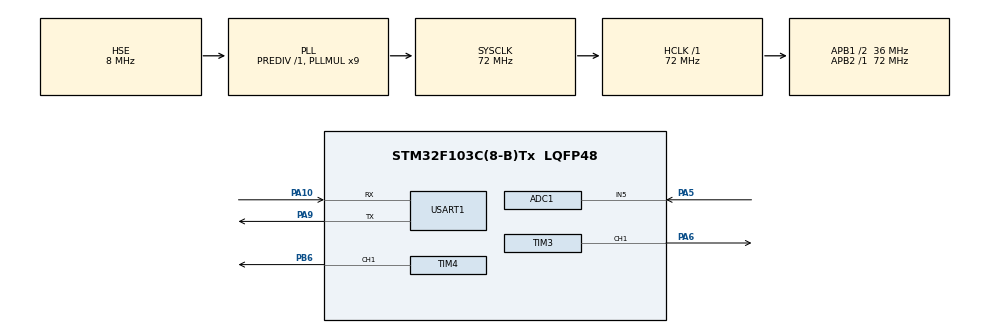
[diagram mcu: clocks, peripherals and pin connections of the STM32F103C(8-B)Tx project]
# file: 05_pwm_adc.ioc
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ADC1.Channel-1\#ChannelRegularConversion=ADC_CHANNEL_5
ADC1.ContinuousConvMode=ENABLE
ADC1.NbrOfConversionFlag=1
ADC1.Rank-1\#ChannelRegularConversion=1
ADC1.SamplingTime-1\#ChannelRegularConversion=ADC_SAMPLETIME_1CYCLE_5
ADC1.master=1
Dma.Request0=USART1_RX
Dma.Request1=USART1_TX
Dma.USART1_RX.0.Direction=DMA_PERIPH_TO_MEMORY
Dma.USART1_RX.0.Instance=DMA1_Channel5
Dma.USART1_RX.0.MemDataAlignment=DMA_MDATAALIGN_BYTE
Dma.USART1_RX.0.MemInc=DMA_MINC_ENABLE
Dma.USART1_RX.0.Mode=DMA_NORMAL
Dma.USART1_RX.0.PeriphDataAlignment=DMA_PDATAALIGN_BYTE
Dma.USART1_RX.0.PeriphInc=DMA_PINC_DISABLE
Dma.USART1_RX.0.Priority=DMA_PRIORITY_LOW
Dma.USART1_TX.1.Direction=DMA_MEMORY_TO_PERIPH
Dma.USART1_TX.1.Instance=DMA1_Channel4
Dma.USART1_TX.1.MemDataAlignment=DMA_MDATAALIGN_BYTE
Dma.USART1_TX.1.MemInc=DMA_MINC_ENABLE
Dma.USART1_TX.1.Mode=DMA_NORMAL
Dma.USART1_TX.1.PeriphDataAlignment=DMA_PDATAALIGN_BYTE
Dma.USART1_TX.1.PeriphInc=DMA_PINC_DISABLE
Dma.USART1_TX.1.Priority=DMA_PRIORITY_LOW
Mcu.Family=STM32F1
Mcu.Name=STM32F103C(8-B)Tx
Mcu.Package=LQFP48
NVIC.DMA1_Channel4_IRQn=true\:0\:0\:false\:false\:true\:false\:true\:true
NVIC.DMA1_Channel5_IRQn=true\:0\:0\:false\:false\:true\:false\:true\:true
NVIC.PriorityGroup=NVIC_PRIORITYGROUP_4
PA10.Mode=Asynchronous
PA10.Signal=USART1_RX
PA13.Mode=Serial_Wire
PA13.Signal=SYS_JTMS-SWDIO
PA14.Mode=Serial_Wire
PA14.Signal=SYS_JTCK-SWCLK
PA5.Signal=ADCx_IN5
PA6.Signal=S_TIM3_CH1
PA9.Mode=Asynchronous
PA9.Signal=USART1_TX
PB6.Signal=S_TIM4_CH1
PD0-OSC_IN.Mode=HSE-External-Oscillator
PD0-OSC_IN.Signal=RCC_OSC_IN
PD1-OSC_OUT.Mode=HSE-External-Oscillator
PD1-OSC_OUT.Signal=RCC_OSC_OUT
ProjectManager.HeapSize=0x200
ProjectManager.StackSize=0x400
ProjectManager.TargetToolchain=Makefile
RCC.ADCPresc=RCC_ADCPCLK2_DIV6
RCC.AHBFreq_Value=72000000
RCC.APB1CLKDivider=RCC_HCLK_DIV2
RCC.APB1Freq_Value=36000000
RCC.APB1TimFreq_Value=72000000
RCC.APB2Freq_Value=72000000
RCC.APB2TimFreq_Value=72000000
RCC.HCLKFreq_Value=72000000
RCC.PLLMUL=RCC_PLL_MUL9
RCC.PLLSourceVirtual=RCC_PLLSOURCE_HSE
RCC.SYSCLKFreq_VALUE=72000000
RCC.SYSCLKSource=RCC_SYSCLKSOURCE_PLLCLK
RCC.USBFreq_Value=72000000
SH.ADCx_IN5.0=ADC1_IN5,IN5
SH.S_TIM3_CH1.0=TIM3_CH1,PWM Generation1 CH1
SH.S_TIM4_CH1.0=TIM4_CH1,PWM Generation1 CH1
TIM3.Channel-PWM\ Generation1\ CH1=TIM_CHANNEL_1
TIM3.Period=20000-1
TIM3.Prescaler=72-1
TIM3.Pulse-PWM\ Generation1\ CH1=500
TIM4.Channel-PWM\ Generation1\ CH1=TIM_CHANNEL_1
TIM4.Period=1000-1
TIM4.Prescaler=72-1
TIM4.Pulse-PWM\ Generation1\ CH1=500
USART1.VirtualMode=VM_ASYNC
VP_TIM3_VS_ClockSourceINT.Mode=Internal
VP_TIM4_VS_ClockSourceINT.Mode=Internal
board=custom

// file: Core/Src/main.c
/* USER CODE BEGIN Header */
/**
  ******************************************************************************
  * @file           : main.c
  * @brief          : Main program body
  ******************************************************************************
  * @attention
  *
  * Copyright (c) 2026 STMicroelectronics.
  * All rights reserved.
  *
  * This software is licensed under terms that can be found in the LICENSE file
  * in the root directory of this software component.
  * If no LICENSE file comes with this software, it is provided AS-IS.
  *
  ******************************************************************************
  */
/* USER CODE END Header */
#include "main.h"
#include "adc.h"
#include "dma.h"
#include "tim.h"
#include "usart.h"
#include "gpio.h"

/* USER CODE BEGIN Includes */
#include <stdio.h>
#include <string.h>
#include <math.h>
/* USER CODE END Includes */

/* USER CODE BEGIN PTD */
void HAL_UART_RxCpltCallback(UART_HandleTypeDef *huart);
/* USER CODE END PTD */

/* USER CODE BEGIN PV */
static uint32_t value;
volatile static uint8_t flag;
volatile static uint8_t angle[1];
volatile static uint8_t cmd[1];
/* USER CODE END PV */

void SystemClock_Config(void);

int main(void)
{

  /* MCU Configuration--------------------------------------------------------*/

  /* Reset of all peripherals, Initializes the Flash interface and the Systick. */
  HAL_Init();

  /* Configure the system clock */
  SystemClock_Config();

  /* Initialize all configured peripherals */
  MX_GPIO_Init();
  MX_DMA_Init();
  MX_ADC1_Init();
  MX_USART1_UART_Init();
  MX_TIM3_Init();
  MX_TIM4_Init();
  /* USER CODE BEGIN 2 */
HAL_ADC_Start(&hadc1);
HAL_TIM_PWM_Start(&htim4,TIM_CHANNEL_1);
HAL_TIM_PWM_Start(&htim3,TIM_CHANNEL_1);
HAL_TIM_Base_Start_IT(&htim3);
// 此处只有一个数据而且不用实时查看所以不用DMA
HAL_ADC_PollForConversion(&hadc1,HAL_MAX_DELAY);
HAL_UART_Receive_DMA(&huart1,(uint8_t*)angle,1);
  /* USER CODE END 2 */

  /* Infinite loop */
  /* USER CODE BEGIN WHILE */
  while (1)
  {
    // ADC采样转换电压数据并且使用printf打印结果
    value=HAL_ADC_GetValue(&hadc1);
    printf("value(单位为mv)=%ld\r\n",(uint32_t)value*(3300)/4095);
    // 以下为PWM模式下呼吸灯效果的代码实现
    for(int i=0;i<=1000;i+=4){
    __HAL_TIM_SET_COMPARE(&htim4,TIM_CHANNEL_1,i);
    HAL_Delay(1);
    }
      for(int i=1000;i>=0;i-=4){
    __HAL_TIM_SET_COMPARE(&htim4,TIM_CHANNEL_1,i);
    HAL_Delay(1);
  }
    /* USER CODE END WHILE */

  }
}

void SystemClock_Config(void)
{
  RCC_OscInitTypeDef RCC_OscInitStruct = {0};
  RCC_ClkInitTypeDef RCC_ClkInitStruct = {0};
  RCC_PeriphCLKInitTypeDef PeriphClkInit = {0};

  /** Initializes the RCC Oscillators according to the specified parameters
  * in the RCC_OscInitTypeDef structure.
  */
  RCC_OscInitStruct.OscillatorType = RCC_OSCILLATORTYPE_HSE;
  RCC_OscInitStruct.HSEState = RCC_HSE_ON;
  RCC_OscInitStruct.HSEPredivValue = RCC_HSE_PREDIV_DIV1;
  RCC_OscInitStruct.HSIState = RCC_HSI_ON;
  RCC_OscInitStruct.PLL.PLLState = RCC_PLL_ON;
  RCC_OscInitStruct.PLL.PLLSource = RCC_PLLSOURCE_HSE;
  RCC_OscInitStruct.PLL.PLLMUL = RCC_PLL_MUL9;
  if (HAL_RCC_OscConfig(&RCC_OscInitStruct) != HAL_OK)
  {
    Error_Handler();
  }

  /** Initializes the CPU, AHB and APB buses clocks
  */
  RCC_ClkInitStruct.ClockType = RCC_CLOCKTYPE_HCLK|RCC_CLOCKTYPE_SYSCLK
                              |RCC_CLOCKTYPE_PCLK1|RCC_CLOCKTYPE_PCLK2;
  RCC_ClkInitStruct.SYSCLKSource = RCC_SYSCLKSOURCE_PLLCLK;
  RCC_ClkInitStruct.AHBCLKDivider = RCC_SYSCLK_DIV1;
  RCC_ClkInitStruct.APB1CLKDivider = RCC_HCLK_DIV2;
  RCC_ClkInitStruct.APB2CLKDivider = RCC_HCLK_DIV1;

  if (HAL_RCC_ClockConfig(&RCC_ClkInitStruct, FLASH_LATENCY_2) != HAL_OK)
  {
    Error_Handler();
  }
  PeriphClkInit.PeriphClockSelection = RCC_PERIPHCLK_ADC;
  PeriphClkInit.AdcClockSelection = RCC_ADCPCLK2_DIV6;
  if (HAL_RCCEx_PeriphCLKConfig(&PeriphClkInit) != HAL_OK)
  {
    Error_Handler();
  }
}

/* USER CODE BEGIN 4 */
int _write(int file, char *ptr, int len){
    (void)file;
    HAL_UART_Transmit(&huart1, (uint8_t *)ptr, len, HAL_MAX_DELAY);
    return len;
}
void HAL_UART_RxCpltCallback(UART_HandleTypeDef *huart){
  if(huart->Instance != USART1)return;
  // 进行一个ascii的转换数据才能被正常使用
 static uint16_t data=0;
  static uint8_t flag2=0;
  // 避免数据被覆盖或被更改
  uint8_t ch=angle[0];
  if(ch>='0'&&ch<='9'){
    data=data*10+(ch-'0');
    if(data>180){data=180;}
    flag2=1;
  }
  else if(ch=='\n'||ch=='\r'||ch==' '){
    if(flag2){cmd[0]=data;
    // 计时器3用于舵机但是舵机转动的角度是由串口发送的数据决定的所以ccr的set写在串口中断里
    // 600是舵机会转动的下限，2400是转动的上限，先乘后除才能得到正常结果
    __HAL_TIM_SET_COMPARE(&htim3,TIM_CHANNEL_1,600+(cmd[0]*1800)/180);}
    data=0;
    flag2=0;
  }
  else{
    data=0;
    flag2=0;
  }
  // 首先装配保证能接收下一次的内容
  HAL_UART_Receive_DMA(&huart1,(uint8_t*)angle,1);
// 这个transmit只是为了回显
HAL_UART_Transmit(&huart1,(uint8_t*)cmd,1,HAL_MAX_DELAY);
}
/* USER CODE END 4 */

void Error_Handler(void)
{
  __disable_irq();
  while (1)
  {
  }
}
